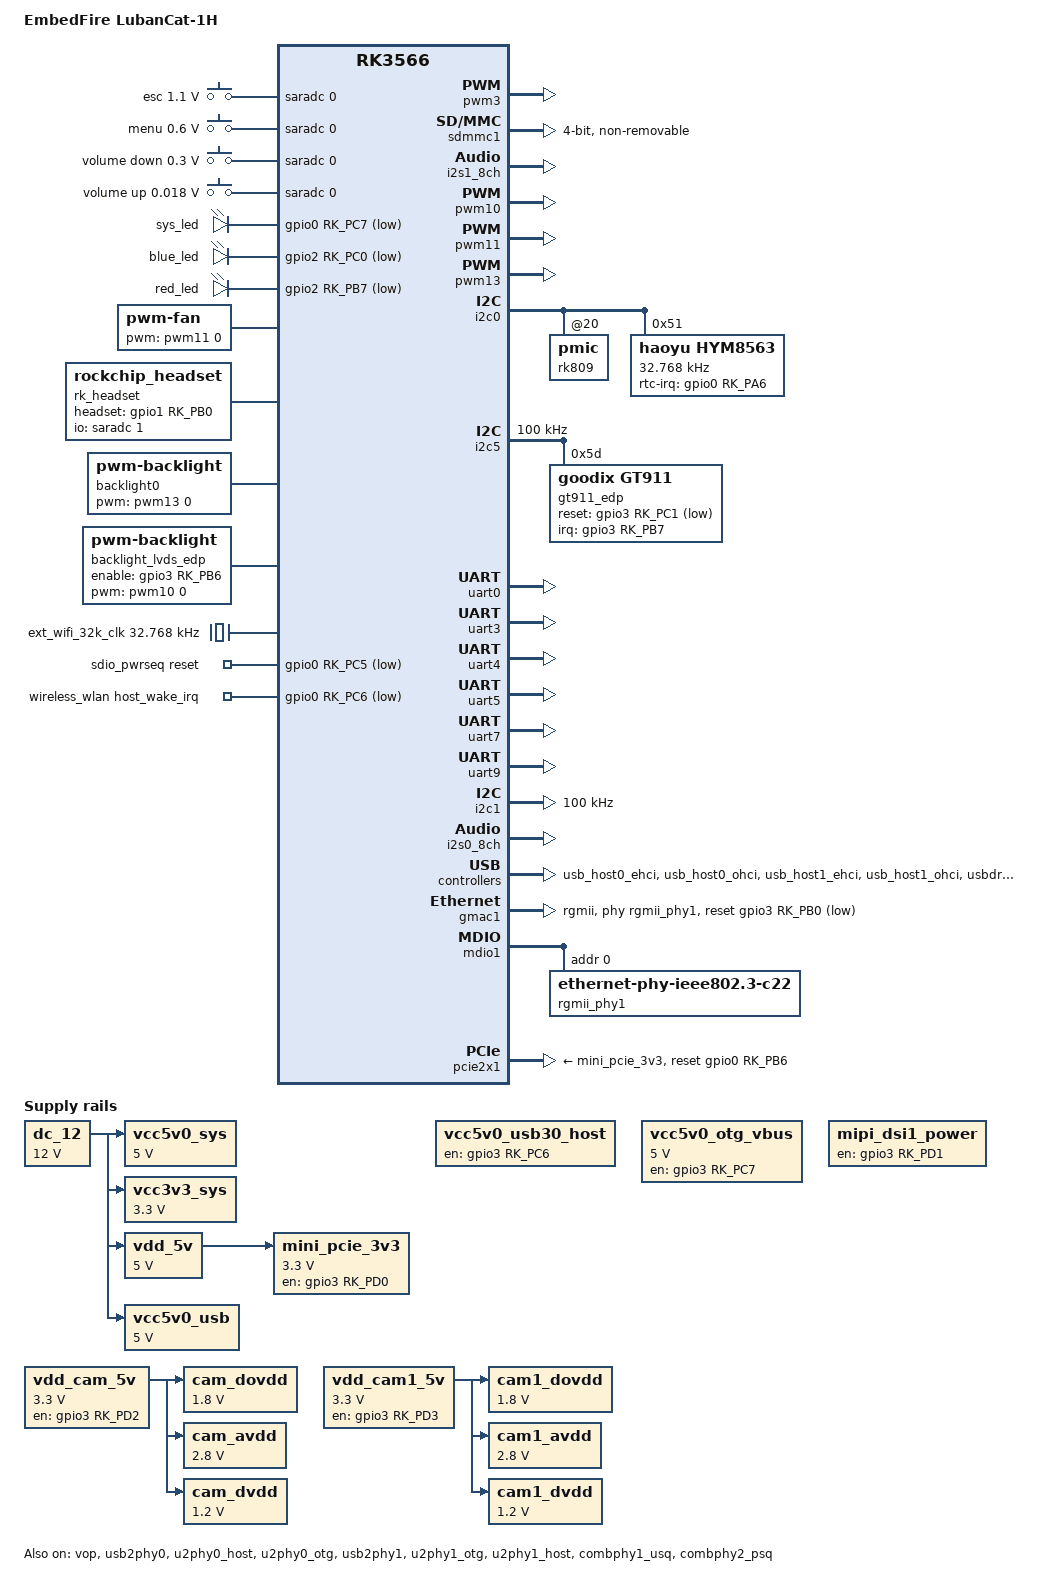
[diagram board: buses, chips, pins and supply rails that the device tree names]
// SPDX-License-Identifier: (GPL-2.0+ OR MIT)
/*
 * Copyright (c) 2020 Rockchip Electronics Co., Ltd.
 *
 */

 /dts-v1/;

#include <dt-bindings/gpio/gpio.h>
#include <dt-bindings/pwm/pwm.h>
#include <dt-bindings/pinctrl/rockchip.h>
#include <dt-bindings/input/rk-input.h>
#include <dt-bindings/display/drm_mipi_dsi.h>
#include <dt-bindings/display/rockchip_vop.h>
#include <dt-bindings/sensor-dev.h>
#include <dt-bindings/phy/jlsemi-dt-phy.h>
#include "rk3566.dtsi"
#include "rk3566-lubancat.dtsi"

//HDMI输出
#include "rk3566-lubancat-hdmi.dtsi"

//MIPI摄像头配置
#include "rk3568-lubancat-csi2-double.dtsi"

//LVDS屏幕配置
//#include "rk3566-lubancat-1h-gm8775c-lvds-800x1280.dtsi"

/ {
	model = "EmbedFire LubanCat-1H";
	compatible = "embedfire,lubancat-1h", "rockchip,rk3566";

	adc-keys {
		compatible = "adc-keys";
		io-channels = <&saradc 0>;
		io-channel-names = "buttons";
		poll-interval = <100>;
		keyup-threshold-microvolt = <1800000>;

		esc-key {
			linux,code = <KEY_ESC>;
			label = "esc";
			press-threshold-microvolt = <1100000>;
		};

		menu-key {
			linux,code = <KEY_MENU>;
			label = "menu";
			press-threshold-microvolt = <600000>;
		};

		vol-down-key {
			linux,code = <KEY_VOLUMEDOWN>;
			label = "volume down";
			press-threshold-microvolt = <300000>;
		};

		vol-up-key {
			linux,code = <KEY_VOLUMEUP>;
			label = "volume up";
			press-threshold-microvolt = <18000>;
		};
	};

	dc_12: dc-12v {
		compatible = "regulator-fixed";
		regulator-name = "dc_12v";
		regulator-always-on;
		regulator-boot-on;
		regulator-min-microvolt = <12000000>;
		regulator-max-microvolt = <12000000>;
	};

	vcc5v0_sys: vcc5v0-sys {
		compatible = "regulator-fixed";
		regulator-name = "vcc5v0_sys";
		regulator-always-on;
		regulator-boot-on;
		regulator-min-microvolt = <5000000>;
		regulator-max-microvolt = <5000000>;
		vin-supply = <&dc_12>;
	};

	vcc3v3_sys: vcc3v3-sys {
		compatible = "regulator-fixed";
		regulator-name = "vcc3v3_sys";
		regulator-always-on;
		regulator-boot-on;
		regulator-min-microvolt = <3300000>;
		regulator-max-microvolt = <3300000>;
		vin-supply = <&dc_12>;
	};

	vdd_5v: vdd-5v {
		compatible = "regulator-fixed";
		regulator-name = "vdd_5v";
		regulator-always-on;
		regulator-boot-on;
		regulator-min-microvolt = <5000000>;
		regulator-max-microvolt = <5000000>;
		vin-supply = <&dc_12>;
	};

	vcc5v0_usb: vcc5v0-usb {
		compatible = "regulator-fixed";
		regulator-name = "vcc5v0_usb";
		regulator-always-on;
		regulator-boot-on;
		regulator-min-microvolt = <5000000>;
		regulator-max-microvolt = <5000000>;
		vin-supply = <&dc_12>;
	};

	vcc5v0_usb30_host: vcc5v0-usb30-host-regulator {
		compatible = "regulator-fixed";
		enable-active-high;
		gpio = <&gpio3 RK_PC6 GPIO_ACTIVE_HIGH>;
		pinctrl-names = "default";
		pinctrl-0 = <&vcc5v0_usb30_host_en>;
		regulator-name = "vcc5v0_usb30_host";
		regulator-always-on;
	};

	vcc5v0_otg_vbus: vcc5v0-otg-vbus-regulator {
		compatible = "regulator-fixed";
		enable-active-high;
		regulator-min-microvolt = <5000000>;
		regulator-max-microvolt = <5000000>;
		gpio = <&gpio3 RK_PC7 GPIO_ACTIVE_HIGH>;
		pinctrl-names = "default";
		pinctrl-0 = <&vcc5v0_otg_vbus_en>;
		regulator-name = "vcc5v0_otg_vbus";
	};

	mini_pcie_3v3: mini-pcie-3v3-regulator {
		compatible = "regulator-fixed";
		regulator-name = "mini_pcie_3v3";
		regulator-min-microvolt = <3300000>;
		regulator-max-microvolt = <3300000>;
		enable-active-high;
		regulator-always-on;
		gpio = <&gpio3 RK_PD0 GPIO_ACTIVE_HIGH>;
		startup-delay-us = <5000>;
		vin-supply = <&vdd_5v>;
	};

	mipi_dsi1_power: mipi-dsi1-power-regulator {
		compatible = "regulator-fixed";
		enable-active-high;
		gpio = <&gpio3 RK_PD1 GPIO_ACTIVE_HIGH>;
		pinctrl-names = "default";
		pinctrl-0 = <&mipi_dsi1_pwr_en>;
		regulator-name = "mipi_dsi1_power";
		regulator-always-on;
	};

	vdd_cam_5v: vdd-cam0-5v-regulator {
		compatible = "regulator-fixed";
		regulator-name = "vdd_cam_5v";
		regulator-min-microvolt = <3300000>;
		regulator-max-microvolt = <3300000>;
		gpio = <&gpio3 RK_PD2 GPIO_ACTIVE_HIGH>;
		pinctrl-names = "default";
		pinctrl-0 = <&cam_pwr_en>;
		enable-active-high;
		regulator-always-on;
	};

	cam_dovdd: cam_dovdd {
		compatible = "regulator-fixed";
		regulator-name = "cam_dovdd";
		regulator-always-on;
		regulator-boot-on;
		regulator-min-microvolt = <1800000>;
		regulator-max-microvolt = <1800000>;
		vin-supply = <&vdd_cam_5v>;
	};

	cam_avdd: cam_avdd {
		compatible = "regulator-fixed";
		regulator-name = "cam_avdd";
		regulator-always-on;
		regulator-boot-on;
		regulator-min-microvolt = <2800000>;
		regulator-max-microvolt = <2800000>;
		vin-supply = <&vdd_cam_5v>;
	};

	cam_dvdd: cam_dvdd {
		compatible = "regulator-fixed";
		regulator-name = "cam_dvdd";
		regulator-always-on;
		regulator-boot-on;
		regulator-min-microvolt = <1200000>;
		regulator-max-microvolt = <1200000>;
		vin-supply = <&vdd_cam_5v>;
	};

	vdd_cam1_5v: vdd-cam1-5v-regulator {
		compatible = "regulator-fixed";
		regulator-name = "vdd_cam1_5v";
		regulator-min-microvolt = <3300000>;
		regulator-max-microvolt = <3300000>;
		gpio = <&gpio3 RK_PD3 GPIO_ACTIVE_HIGH>;
		pinctrl-names = "default";
		pinctrl-0 = <&cam1_pwr_en>;
		enable-active-high;
		regulator-always-on;
	};

	cam1_dovdd: cam1-dovdd {
		compatible = "regulator-fixed";
		regulator-name = "cam1_dovdd";
		regulator-always-on;
		regulator-boot-on;
		regulator-min-microvolt = <1800000>;
		regulator-max-microvolt = <1800000>;
		vin-supply = <&vdd_cam1_5v>;
	};

	cam1_avdd: cam1-avdd {
		compatible = "regulator-fixed";
		regulator-name = "cam1_avdd";
		regulator-always-on;
		regulator-boot-on;
		regulator-min-microvolt = <2800000>;
		regulator-max-microvolt = <2800000>;
		vin-supply = <&vdd_cam1_5v>;
	};

	cam1_dvdd: cam1-dvdd {
		compatible = "regulator-fixed";
		regulator-name = "cam1_dvdd";
		regulator-always-on;
		regulator-boot-on;
		regulator-min-microvolt = <1200000>;
		regulator-max-microvolt = <1200000>;
		vin-supply = <&vdd_cam1_5v>;
	};

	leds: leds {
		status = "okay";
		compatible = "gpio-leds";

		sys_led: sys-led {
			label = "sys_led";
			linux,default-trigger = "heartbeat";
			default-state = "on";
			gpios = <&gpio0 RK_PC7 GPIO_ACTIVE_LOW>;
			pinctrl-names = "default";
			pinctrl-0 = <&sys_led_pin>;
		};

		blue_led: blue-led {
			label = "blue_led";
			linux,default-trigger = "heartbeat";
			default-state = "on";
			gpios = <&gpio2 RK_PC0 GPIO_ACTIVE_LOW>;
			pinctrl-names = "default";
			pinctrl-0 = <&blue_led_pin>;
		};

		red_led: red-led {
			label = "red_led";
			linux,default-trigger = "heartbeat";
			default-state = "on";
			gpios = <&gpio2 RK_PB7 GPIO_ACTIVE_LOW>;
			pinctrl-names = "default";
			pinctrl-0 = <&red_led_pin>;
		};
	};

	fan: pwm-fan {
		compatible = "pwm-fan";
		#cooling-cells = <2>;
		pwms = <&pwm11 0 50000 0>;
		cooling-levels = <0 100 150 200 255>;
		rockchip,temp-trips = <
			40000	1
			45000	2
			50000	3
			55000	4
		>;
	};

	rk809_sound: rk809-sound {
		status = "okay";
		compatible = "simple-audio-card";
		simple-audio-card,format = "i2s";
		simple-audio-card,name = "rockchip,rk809-codec";
		simple-audio-card,mclk-fs = <256>;
		simple-audio-card,widgets =
			"Microphone", "Mic Jack",
			"Headphone", "Headphone Jack";
		simple-audio-card,routing =
			"Mic Jack", "MICBIAS1",
			"IN1P", "Mic Jack",
			"Headphone Jack", "HPOL",
			"Headphone Jack", "HPOR";
		simple-audio-card,cpu {
			sound-dai = <&i2s1_8ch>;
		};
		simple-audio-card,codec {
			sound-dai = <&rk809_codec>;
		};
	};

	rk_headset: rk-headset {
		status = "okay";
		compatible = "rockchip_headset";
		headset_gpio = <&gpio1 RK_PB0 GPIO_ACTIVE_HIGH>;
		pinctrl-names = "default";
		pinctrl-0 = <&hp_det>;
		io-channels = <&saradc 1>;
	};

	backlight0: backlight0 {
		status = "okay";
		compatible = "pwm-backlight";
		pwms = <&pwm13 0 50000 0>;
		brightness-levels = <
			 95  95  95  95  95  95  95  95
			 95  95  95  95  95  95  95  95
			 95  95  95  95  95  95  95  95
			 95  95  95  95  95  95  95  95
			 95  95  95  95  95  95  95  95
			 95  95  95  95  95  95  95  95
			 95  95  95  95  95  95  95  95
			 95  95  95  95  95  95  95  95
			 95  95  95  95  95  95  95  95
			 95  95  95  95  95  95  95  95
			 95  95  95  95  95  95  95  95
			 88  89  90  91  92  93  94  95
			 96  97  98  99 100 101 102 103
			104 105 106 107 108 109 110 111
			112 113 114 115 116 117 118 119
			120 121 122 123 124 125 126 127
			128 129 130 131 132 133 134 135
			136 137 138 139 140 141 142 143
			144 145 146 147 148 149 150 151
			152 153 154 155 156 157 158 159
			160 161 162 163 164 165 166 167
			168 169 170 171 172 173 174 175
			176 177 178 179 180 181 182 183
			184 185 186 187 188 189 190 191
			192 193 194 195 196 197 198 199
			200 201 202 203 204 205 206 207
			208 209 210 211 212 213 214 215
			216 217 218 219 220 221 222 223
			224 225 226 227 228 229 230 231
			232 233 234 235 236 237 238 239
			240 241 242 243 244 245 246 247
			248 249 250 251 252 253 254 255
		>;
		default-brightness-level = <200>;
	};

	backlight_lvds_edp: backlight-lvds-edp {
		status = "okay";
		compatible = "pwm-backlight";
		pwms = <&pwm10 0 50000 0>;
		enable-gpios = <&gpio3 RK_PB6 GPIO_ACTIVE_HIGH>;
		brightness-levels = <
			 95  95  95  95  95  95  95  95
			 95  95  95  95  95  95  95  95
			 95  95  95  95  95  95  95  95
			 95  95  95  95  95  95  95  95
			 95  95  95  95  95  95  95  95
			 95  95  95  95  95  95  95  95
			 95  95  95  95  95  95  95  95
			 95  95  95  95  95  95  95  95
			 95  95  95  95  95  95  95  95
			 95  95  95  95  95  95  95  95
			 95  95  95  95  95  95  95  95
			 88  89  90  91  92  93  94  95
			 96  97  98  99 100 101 102 103
			104 105 106 107 108 109 110 111
			112 113 114 115 116 117 118 119
			120 121 122 123 124 125 126 127
			128 129 130 131 132 133 134 135
			136 137 138 139 140 141 142 143
			144 145 146 147 148 149 150 151
			152 153 154 155 156 157 158 159
			160 161 162 163 164 165 166 167
			168 169 170 171 172 173 174 175
			176 177 178 179 180 181 182 183
			184 185 186 187 188 189 190 191
			192 193 194 195 196 197 198 199
			200 201 202 203 204 205 206 207
			208 209 210 211 212 213 214 215
			216 217 218 219 220 221 222 223
			224 225 226 227 228 229 230 231
			232 233 234 235 236 237 238 239
			240 241 242 243 244 245 246 247
			248 249 250 251 252 253 254 255
		>;
		default-brightness-level = <200>;
	};

	ext_wifi_32k_clk: external-32k-clock {
		compatible = "fixed-clock";
		#clock-cells = <0>;
		clock-frequency = <32768>;
		clock-output-names = "ext_wifi_32k_clk";
	};

	sdio_pwrseq: sdio-pwrseq {
		compatible = "mmc-pwrseq-simple";
		clocks = <&ext_wifi_32k_clk>;
		clock-names = "ext_clock";
		pinctrl-names = "default";
		pinctrl-0 = <&wifi_enable_h>;

			/*
		 * On the module itself this is one of these (depending
		 * on the actual card populated):
		 * - SDIO_RESET_L_WL_REG_ON
		 * - PDN (power down when low)
		 */
		reset-gpios = <&gpio0 RK_PC5 GPIO_ACTIVE_LOW>;
	};

	wireless_wlan: wireless-wlan {
		compatible = "wlan-platdata";
		rockchip,grf = <&grf>;
		wifi_chip_type = "rtl8189es";
		pinctrl-names = "default";
		pinctrl-0 = <&wifi_host_wake_irq>;
		WIFI,host_wake_irq = <&gpio0 RK_PC6 GPIO_ACTIVE_LOW>;
		status = "okay";
	};
};

&pwm3 {
	status = "okay";

	compatible = "rockchip,remotectl-pwm";
	interrupts = <GIC_SPI 82 IRQ_TYPE_LEVEL_HIGH>;
	remote_pwm_id = <3>;
	handle_cpu_id = <1>;
	remote_support_psci = <0>;
	pinctrl-names = "default";
	pinctrl-0 = <&pwm3_pins>;

	ir_key_lubancat{
		rockchip,usercode = <0x909>;
		rockchip,key_table =
			<0xf4   KEY_POWER>,
			<0xe6   KEY_SLEEP>,
			<0xe4   KEY_WAKEUP>,
			<0xed   KEY_VOLUMEUP>,
			<0xec   KEY_VOLUMEDOWN>,
			<0xef   KEY_UP>,
			<0xee   KEY_DOWN>;
	};
};

&sdmmc1 {
	max-frequency = <150000000>;
	supports-sdio;
	bus-width = <4>;
	disable-wp;
	cap-sd-highspeed;
	cap-sdio-irq;
	keep-power-in-suspend;
	pinctrl-names = "default";
	pinctrl-0 = <&sdmmc1_bus4 &sdmmc1_cmd &sdmmc1_clk>;
	sd-uhs-sdr104;
	mmc-pwrseq = <&sdio_pwrseq>;
	non-removable;
	status = "okay";
};

&i2s1_8ch {
	status = "okay";
	rockchip,clk-trcm = <1>;
	/delete-property/ rockchip,playback-only;
	pinctrl-names = "default";
	pinctrl-0 = <&i2s1m0_sclktx
			 &i2s1m0_lrcktx
			 &i2s1m0_sdi0
			 &i2s1m0_sdo0>;
};

&pwm10 {
	status = "okay";
};

&pwm11 {
	status = "okay";
	pinctrl-names = "active";
	pinctrl-0 = <&pwm11m1_pins>;
};

&pwm13 {
	status = "okay";
};

&xin32k {
	status = "disabled";
};

&i2c0 {
	status = "okay";
	rk809: pmic@20 {
		rk809_codec: codec {
			pinctrl-names = "default", "spk_gpio";
			pinctrl-0 = <&i2s1m0_mclk>;
			pinctrl-1 = <&spk_ctl_gpio>;
			spk-ctl-gpios = <&gpio1 RK_PB1 GPIO_ACTIVE_HIGH>;
			status = "okay";
		};

		rk809_rtc:rtc{
			status = "disabled";
		};
	};

	hym8563: hym8563@51 {
		compatible = "haoyu,hym8563";
		status = "okay";
		reg = <0x51>;
		#clock-cells = <0>;
		clock-frequency = <32768>;
		clock-output-names = "hym8563";
		rtc-irq-gpio = <&gpio0 RK_PA6 IRQ_TYPE_EDGE_FALLING>;
	};
};

&dsi1 {
	status = "disabled";
	power-supply = <&mipi_dsi1_power>;
	#address-cells = <1>;
	#size-cells = <0>;

	dsi1_panel: panel@0 {
		status = "disabled";
		compatible = "simple-panel-dsi";
		reg = <0x0>;
		backlight = <&backlight0>;
		reset-gpios = <&gpio3 RK_PA7 GPIO_ACTIVE_LOW>;

		ports {
			#address-cells = <1>;
			#size-cells = <0>;
			port@0 {
				reg = <0>;
				panel_in_dsi1: endpoint {
					remote-endpoint = <&dsi1_out_panel>;
				};
			};
		};
	};

	ports {
		#address-cells = <1>;
		#size-cells = <0>;

		port@1 {
			reg = <1>;
			dsi1_out_panel: endpoint {
				remote-endpoint = <&panel_in_dsi1>;
			};
		};
	};
};

&i2c5 {
	status = "okay";
	clock-frequency = <100000>;

	gt911_edp: gt911@5d {
		status = "okay";
		compatible = "goodix,gt911";
		reg = <0x5d>;
		interrupt-parent = <&gpio3>;
		interrupts = <RK_PB7 IRQ_TYPE_LEVEL_LOW>;
		reset-gpios = <&gpio3 RK_PC1 GPIO_ACTIVE_LOW>;
		irq-gpios = <&gpio3 RK_PB7 GPIO_ACTIVE_HIGH>;
	};
};

&uart0 {
	status = "okay";
};

&uart3 {
	status = "okay";
};

&uart4 {
	status = "okay";
	pinctrl-names = "default";
	pinctrl-0 = <&uart4m1_xfer>;
};

&uart5 {
	status = "okay";
	pinctrl-names = "default";
	pinctrl-0 = <&uart5m1_xfer>;
};

&uart7 {
	status = "okay";
	pinctrl-names = "default";
	pinctrl-0 = <&uart7m1_xfer>;
};

&uart9 {
	status = "okay";
	pinctrl-names = "default";
	pinctrl-0 = <&uart9m1_xfer>;
};

&i2c1 {
	status = "okay";
	clock-frequency = <100000>;

	gt911_dsi1: gt911@5d {
		status = "disabled";
		compatible = "goodix,gt911";
		reg = <0x5d>;
		interrupt-parent = <&gpio3>;
		interrupts = <RK_PA6 IRQ_TYPE_LEVEL_LOW>;
		reset-gpios = <&gpio3 RK_PA5 GPIO_ACTIVE_LOW>;
		irq-gpios = <&gpio3 RK_PA6 GPIO_ACTIVE_HIGH>;
		touchscreen-inverted-x = <1>;
		touchscreen-inverted-y = <1>;
	};

	gt928_dsi1: gt928@5d {
		status = "disabled";
		compatible = "goodix,gt928";
		reg = <0x5d>;
		interrupt-parent = <&gpio3>;
		interrupts = <RK_PA6 IRQ_TYPE_LEVEL_LOW>;
		reset-gpios = <&gpio3 RK_PA5 GPIO_ACTIVE_LOW>;
		irq-gpios = <&gpio3 RK_PA6 GPIO_ACTIVE_HIGH>;
	};

	rockpi_mcu_1: rockpi-mcu-1@45 {
		compatible = "rockpi_mcu";
		reg = <0x45>;
		status = "disabled";
	};

	rockpi_ft5406_1: rockpi_ft5406-1@38 {
		compatible = "rockpi_ft5406";
		reg = <0x38>;
		status = "disabled";
	};
};

//cam0-gpio-setting
&ov5647 {
	pwdn-gpios = <&gpio3 RK_PA1 GPIO_ACTIVE_LOW>;
};

&ov5648 {
	pwdn-gpios = <&gpio3 RK_PA1 GPIO_ACTIVE_HIGH>;
	reset-gpios = <&gpio3 RK_PA2 GPIO_ACTIVE_LOW>;
};

&ov8858 {
	pwdn-gpios = <&gpio3 RK_PA1 GPIO_ACTIVE_HIGH>;
	reset-gpios = <&gpio3 RK_PA2 GPIO_ACTIVE_HIGH>;
};

&sc132gs {
	pwdn-gpios = <&gpio3 RK_PA1 GPIO_ACTIVE_HIGH>;
	reset-gpios = <&gpio3 RK_PA2 GPIO_ACTIVE_HIGH>;
};

//cam1-gpio-setting
&cam1_ov5647 {
	pwdn-gpios = <&gpio3 RK_PA3 GPIO_ACTIVE_LOW>;
};

&cam1_ov5648 {
	pwdn-gpios = <&gpio3 RK_PA3 GPIO_ACTIVE_HIGH>;
	reset-gpios = <&gpio3 RK_PA4 GPIO_ACTIVE_LOW>;
};

&cam1_ov8858 {
	pwdn-gpios = <&gpio3 RK_PA3 GPIO_ACTIVE_HIGH>;
	reset-gpios = <&gpio3 RK_PA4 GPIO_ACTIVE_HIGH>;
};

&cam1_sc132gs {
	pwdn-gpios = <&gpio3 RK_PA3 GPIO_ACTIVE_HIGH>;
	reset-gpios = <&gpio3 RK_PA4 GPIO_ACTIVE_HIGH>;
};

&i2s0_8ch {
	status = "okay";
};

&pmu_io_domains {
	status = "okay";
	pmuio2-supply = <&vcc3v3_pmu>;
	vccio1-supply = <&vccio_acodec>;
	vccio3-supply = <&vccio_sd>;
	vccio4-supply = <&vcc_1v8>;
	vccio5-supply = <&vcc_3v3>;
	vccio6-supply = <&vcc_1v8>;
	vccio7-supply = <&vcc_3v3>;
};

&vop {
	status = "okay";
	assigned-clocks = <&cru DCLK_VOP0>, <&cru DCLK_VOP1>;
	assigned-clock-parents = <&pmucru PLL_HPLL>, <&cru PLL_VPLL>;
};

&vop_mmu {
	status = "okay";
};

/* USB OTG/USB Host_1 USB 2.0 Comb */
&usb2phy0 {
	status = "okay";
};

&u2phy0_host {
	phy-supply = <&vcc5v0_usb30_host>;
	status = "okay";
};

&u2phy0_otg {
	vbus-supply = <&vcc5v0_otg_vbus>;
	status = "okay";
};

&usb_host0_ehci {
	status = "okay";
};

&usb_host0_ohci {
	status = "okay";
};

/* USB Host_2/USB Host_3 USB 2.0 Comb */
&usb2phy1 {
	status = "okay";
};

&u2phy1_otg {
	phy-supply = <&vcc5v0_usb>;
	status = "okay";
};

&u2phy1_host {
	phy-supply = <&vcc5v0_usb>;
	status = "okay";
};

&usb_host1_ehci {
	status = "okay";
};

&usb_host1_ohci {
	status = "okay";
};

/* USB3.0 OTG Only USB2.0 */
&usbdrd30 {
	status = "okay";
};

&usbdrd_dwc3 {
	status = "okay";
};

/* USB3.0 Host */
&combphy1_usq {
	status = "okay";
};

&usbhost30 {
	status = "okay";
};

&usbhost_dwc3 {
	status = "okay";
};

&gmac1 {
	phy-mode = "rgmii";
	clock_in_out = "output";

	snps,reset-gpio = <&gpio3 RK_PB0 GPIO_ACTIVE_LOW>;
	snps,reset-active-low;
	/* Reset time is 75ms, 100ms */
	snps,reset-delays-us = <0 75000 100000>;

	assigned-clocks = <&cru SCLK_GMAC1_RX_TX>, <&cru SCLK_GMAC1>;
	assigned-clock-parents = <&cru SCLK_GMAC1_RGMII_SPEED>, <&cru CLK_MAC1_2TOP>;
	assigned-clock-rates = <0>, <125000000>;

	pinctrl-names = "default";
	pinctrl-0 = <&gmac1m1_miim
			 &gmac1m1_tx_bus2
			 &gmac1m1_rx_bus2
			 &gmac1m1_rgmii_clk
			 &gmac1m1_rgmii_bus>;

	/* RTL8211F */
	// tx_delay = <0x1c>;
	// rx_delay = <0x0c>;

	/* JL2101 */
	tx_delay = <0x22>;
	rx_delay = <0x07>;

	phy-handle = <&rgmii_phy1>;
	status = "okay";
};

&mdio1 {
	rgmii_phy1: phy@0 {
		compatible = "ethernet-phy-ieee802.3-c22";
		reg = <0x0>;
		jl2xxx,led-enable = <(JL2XXX_LED_STATIC_OP_EN | JL1XXX_LED_MODE_EN)>;
		jl2xxx,led-mode = <(JL2XXX_LED1_LINK10  | \
				 JL2XXX_LED1_LINK100  | \
				 JL2XXX_LED1_LINK1000 | \
				 JL2XXX_LED2_LINK10   | \
				 JL2XXX_LED2_LINK100  | \
				 JL2XXX_LED2_LINK1000 | \
				 JL2XXX_LED2_ACTIVITY )>;
	};
};

/* mini pcie */
&pcie2x1 {
	reset-gpios = <&gpio0 RK_PB6 GPIO_ACTIVE_HIGH>;
	disable-gpios = <&gpio0 RK_PB2 GPIO_ACTIVE_HIGH>;
	vpcie3v3-supply = <&mini_pcie_3v3>;
	status = "okay";
};

&combphy2_psq {
	status = "okay";
};

&rockchip_suspend {
	status = "okay";
};

&pinctrl {

	cam {
		cam_pwr_en: cam_pwr_en {
			rockchip,pins = <3 RK_PD2 RK_FUNC_GPIO &pcfg_pull_none>;
		};

		cam1_pwr_en: cam1_pwr_en {
			rockchip,pins = <3 RK_PD3 RK_FUNC_GPIO &pcfg_pull_none>;
		};
	};

	pmic {
		spk_ctl_gpio: spk_ctl_gpio {
			rockchip,pins = <1 RK_PB1 RK_FUNC_GPIO &pcfg_pull_up>;
		};
	};

	headphone {
		hp_det: hp-det {
			rockchip,pins = <1 RK_PB0 RK_FUNC_GPIO &pcfg_pull_none>;
		};
	};

	usb {
		vcc5v0_usb30_host_en: vcc5v0-usb30-host-en {
			rockchip,pins = <3 RK_PC6 RK_FUNC_GPIO &pcfg_pull_none>;
		};

		vcc5v0_otg_vbus_en: vcc5v0-otg-vbus-en {
			rockchip,pins = <3 RK_PC7 RK_FUNC_GPIO &pcfg_pull_none>;
		};
	};

	spi {
		spi3_cs0: spi3-cs0 {
			rockchip,pins = <4 RK_PC6 RK_FUNC_GPIO &pcfg_pull_up_drv_level_1>;
		};

		spi3_cs1: spi3-cs1 {
			rockchip,pins = <4 RK_PC4 RK_FUNC_GPIO &pcfg_pull_up_drv_level_1>;
		};
	};

	lcd {
		mipi_dsi1_pwr_en: mipi-dsi1-pwr-en {
			rockchip,pins = <3 RK_PD1 RK_FUNC_GPIO &pcfg_pull_none>;
		};
	};

	leds {
		sys_led_pin: sys-led-pin {
			rockchip,pins = <0 RK_PC7 RK_FUNC_GPIO &pcfg_pull_none>;
		};

		blue_led_pin: blue-led-pin {
			rockchip,pins = <2 RK_PC0 RK_FUNC_GPIO &pcfg_pull_none>;
		};

		red_led_pin: red-led-pin {
			rockchip,pins = <2 RK_PB7 RK_FUNC_GPIO &pcfg_pull_none>;
		};
	};

	sdio-pwrseq {
		wifi_enable_h: wifi-enable-h {
			rockchip,pins = <0 RK_PC5 RK_FUNC_GPIO &pcfg_pull_none>;
		};
	};

	wireless-wlan {
		wifi_host_wake_irq: wifi-host-wake-irq {
			rockchip,pins = <0 RK_PC6 RK_FUNC_GPIO &pcfg_pull_down>;
		};
	};
};
